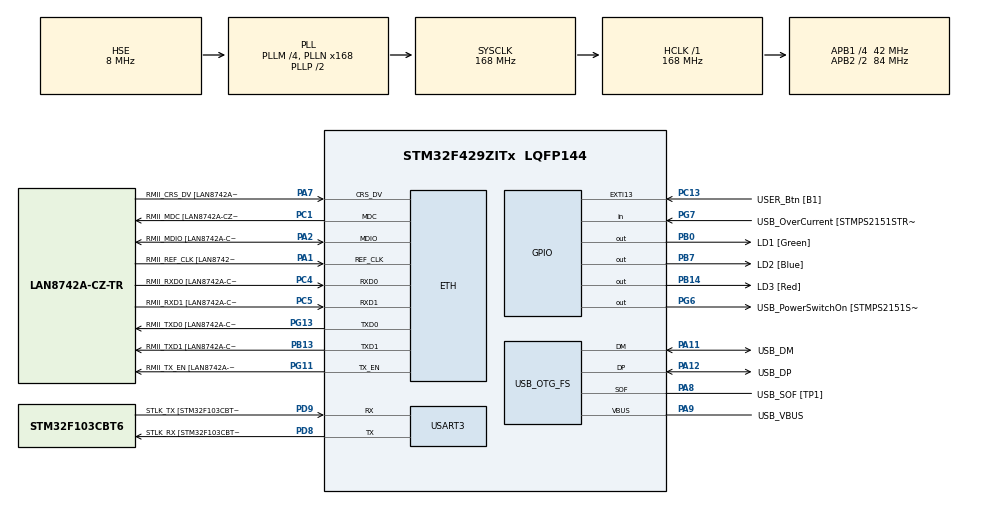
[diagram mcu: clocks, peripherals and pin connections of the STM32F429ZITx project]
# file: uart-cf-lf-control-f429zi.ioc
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ETH.MediaInterface=HAL_ETH_RMII_MODE
ETH.PHY_Name=LAN8742A_PHY_ADDRESS
ETH.PHY_Value=0
ETH.PhyAddress=0
FREERTOS.Tasks01=defaultTask,1,128,StartDefaultTask,Default,NULL,Dynamic,NULL,NULL
Mcu.Family=STM32F4
Mcu.Name=STM32F429ZITx
Mcu.Package=LQFP144
NVIC.PriorityGroup=NVIC_PRIORITYGROUP_4
NVIC.USART3_IRQn=true\:5\:0\:false\:false\:true\:true\:true\:true\:true
PA1.GPIO_Label=RMII_REF_CLK [LAN8742A-CZ-TR_REFCLK0]
PA1.Mode=RMII
PA1.Signal=ETH_REF_CLK
PA10.GPIO_Label=USB_ID
PA10.Signal=USB_OTG_FS_ID
PA11.GPIO_Label=USB_DM
PA11.Mode=Device_Only
PA11.Signal=USB_OTG_FS_DM
PA12.GPIO_Label=USB_DP
PA12.Mode=Device_Only
PA12.Signal=USB_OTG_FS_DP
PA13.GPIO_Label=TMS
PA13.Mode=Serial_Wire
PA13.Signal=SYS_JTMS-SWDIO
PA14.GPIO_Label=TCK
PA14.Mode=Serial_Wire
PA14.Signal=SYS_JTCK-SWCLK
PA2.GPIO_Label=RMII_MDIO [LAN8742A-CZ-TR_MDIO]
PA2.Mode=RMII
PA2.Signal=ETH_MDIO
PA7.GPIO_Label=RMII_CRS_DV [LAN8742A-CZ-TR_CRS_DV]
PA7.Mode=RMII
PA7.Signal=ETH_CRS_DV
PA8.GPIO_Label=USB_SOF [TP1]
PA8.Mode=Activate_SOF_FS
PA8.Signal=USB_OTG_FS_SOF
PA9.GPIO_Label=USB_VBUS
PA9.Mode=Activate_VBUS
PA9.Signal=USB_OTG_FS_VBUS
PB0.GPIO_Label=LD1 [Green]
PB0.Signal=GPIO_Output
PB13.GPIO_Label=RMII_TXD1 [LAN8742A-CZ-TR_TXD1]
PB13.Mode=RMII
PB13.Signal=ETH_TXD1
PB14.GPIO_Label=LD3 [Red]
PB14.Signal=GPIO_Output
PB7.GPIO_Label=LD2 [Blue]
PB7.Signal=GPIO_Output
PC1.GPIO_Label=RMII_MDC [LAN8742A-CZ-TR_MDC]
PC1.Mode=RMII
PC1.Signal=ETH_MDC
PC13.GPIO_Label=USER_Btn [B1]
PC13.Signal=GPXTI13
PC14/OSC32_IN.Mode=LSE-External-Oscillator
PC14/OSC32_IN.Signal=RCC_OSC32_IN
PC15/OSC32_OUT.Mode=LSE-External-Oscillator
PC15/OSC32_OUT.Signal=RCC_OSC32_OUT
PC4.GPIO_Label=RMII_RXD0 [LAN8742A-CZ-TR_RXD0]
PC4.Mode=RMII
PC4.Signal=ETH_RXD0
PC5.GPIO_Label=RMII_RXD1 [LAN8742A-CZ-TR_RXD1]
PC5.Mode=RMII
PC5.Signal=ETH_RXD1
PD8.GPIO_Label=STLK_RX [STM32F103CBT6_PA3]
PD8.Mode=Asynchronous
PD8.Signal=USART3_TX
PD9.GPIO_Label=STLK_TX [STM32F103CBT6_PA2]
PD9.Mode=Asynchronous
PD9.Signal=USART3_RX
PG11.GPIO_Label=RMII_TX_EN [LAN8742A-CZ-TR_TXEN]
PG11.Mode=RMII
PG11.Signal=ETH_TX_EN
PG13.GPIO_Label=RMII_TXD0 [LAN8742A-CZ-TR_TXD0]
PG13.Mode=RMII
PG13.Signal=ETH_TXD0
PG6.GPIO_Label=USB_PowerSwitchOn [STMPS2151STR_EN]
PG6.Signal=GPIO_Output
PG7.GPIO_Label=USB_OverCurrent [STMPS2151STR_FAULT]
PG7.Signal=GPIO_Input
PH0/OSC_IN.GPIO_Label=MCO [STM32F103CBT6_PA8]
PH0/OSC_IN.Mode=HSE-External-Clock-Source
PH0/OSC_IN.Signal=RCC_OSC_IN
PH1/OSC_OUT.Mode=HSE-External-Clock-Source
PH1/OSC_OUT.Signal=RCC_OSC_OUT
ProjectManager.HeapSize=0x200
ProjectManager.StackSize=0x400
ProjectManager.TargetToolchain=STM32CubeIDE
RCC.48MHZClocksFreq_Value=48000000
RCC.AHBFreq_Value=168000000
RCC.APB1CLKDivider=RCC_HCLK_DIV4
RCC.APB1Freq_Value=42000000
RCC.APB1TimFreq_Value=84000000
RCC.APB2CLKDivider=RCC_HCLK_DIV2
RCC.APB2Freq_Value=84000000
RCC.APB2TimCLKDivider=2
RCC.APB2TimFreq_Value=168000000
RCC.CortexFreq_Value=168000000
RCC.HCLKFreq_Value=168000000
RCC.HSE_VALUE=8000000
RCC.HSI_VALUE=16000000
RCC.PLLM=4
RCC.PLLMUL=RCC_PLL_MUL9
RCC.PLLN=168
RCC.PLLQ=7
RCC.PRESCALERUSB=RCC_USBCLKSOURCE_PLL_DIV1_5
RCC.SYSCLKFreq_VALUE=168000000
RCC.SYSCLKSource=RCC_SYSCLKSOURCE_PLLCLK
RCC.SYSCLKSourceVirtual=RCC_SYSCLKSOURCE_PLLCLK
RCC.USBFreq_Value=48000000
RCC.VCOOutputFreq_Value=336000000
USART3.VirtualMode=VM_ASYNC
USB_OTG_FS.VirtualMode=Device_Only
VP_FREERTOS_VS_CMSIS_V1.Mode=CMSIS_V1
board=NUCLEO-F429ZI

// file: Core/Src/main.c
/* USER CODE BEGIN Header */
/**
  ******************************************************************************
  * @file           : main.c
  * @brief          : Main program body
  ******************************************************************************
  * @attention
  *
  * Copyright (c) 2022 STMicroelectronics.
  * All rights reserved.
  *
  * This software is licensed under terms that can be found in the LICENSE file
  * in the root directory of this software component.
  * If no LICENSE file comes with this software, it is provided AS-IS.
  *
  ******************************************************************************
  */
/* USER CODE END Header */
#include "main.h"
#include "string.h"
#include "cmsis_os.h"

ETH_TxPacketConfig TxConfig;
ETH_DMADescTypeDef  DMARxDscrTab[ETH_RX_DESC_CNT]; /* Ethernet Rx DMA Descriptors */
ETH_DMADescTypeDef  DMATxDscrTab[ETH_TX_DESC_CNT]; /* Ethernet Tx DMA Descriptors */

 ETH_HandleTypeDef heth;

UART_HandleTypeDef huart3;

PCD_HandleTypeDef hpcd_USB_OTG_FS;

osThreadId defaultTaskHandle;
/* USER CODE BEGIN PV */
uint8_t testReceiveData[60];  //  creating a buffer of 60 bytes
/* USER CODE END PV */

void SystemClock_Config(void);
static void MX_GPIO_Init(void);
static void MX_ETH_Init(void);
static void MX_USART3_UART_Init(void);
static void MX_USB_OTG_FS_PCD_Init(void);
void StartDefaultTask(void const * argument);

/* USER CODE BEGIN PFP */
void removeChar(char * str, char charToRemove){
    int i, j;
    int len = strlen(str);
    for(i=0; i<len; i++)
    {
        if(str[i] == charToRemove)
        {
            for(j=i; j<len; j++)
            {
                str[j] = str[j+1];
            }
            len--;
            i--;
        }
    }
}

void MY_UART_Transmit(UART_HandleTypeDef *huart, const uint8_t *pData, uint16_t Size, uint32_t Timeout){

	removeChar(pData,'\n');
	removeChar(pData,'\r');
	strcat(pData, "\r\n");

	HAL_UART_Transmit(&huart3, pData, strlen(pData), Timeout);
}
/* USER CODE END PFP */

int main(void)
{

  /* MCU Configuration--------------------------------------------------------*/

  /* Reset of all peripherals, Initializes the Flash interface and the Systick. */
  HAL_Init();

  /* Configure the system clock */
  SystemClock_Config();

  /* Initialize all configured peripherals */
  MX_GPIO_Init();
  MX_ETH_Init();
  MX_USART3_UART_Init();
  MX_USB_OTG_FS_PCD_Init();
  /* USER CODE BEGIN 2 */
  //HAL_UART_Receive_IT(&huart3,testReceiveData,1);
  HAL_UART_Receive_IT(&huart3,testReceiveData,sizeof(testReceiveData));
  /* USER CODE END 2 */

  /* Create the thread(s) */
  /* definition and creation of defaultTask */
  osThreadDef(defaultTask, StartDefaultTask, osPriorityAboveNormal, 0, 128);
  defaultTaskHandle = osThreadCreate(osThread(defaultTask), NULL);

  /* Start scheduler */
  osKernelStart();

  /* We should never get here as control is now taken by the scheduler */
  /* Infinite loop */
  while (1)
  {
  }
}

void SystemClock_Config(void)
{
  RCC_OscInitTypeDef RCC_OscInitStruct = {0};
  RCC_ClkInitTypeDef RCC_ClkInitStruct = {0};

  /** Configure the main internal regulator output voltage
  */
  __HAL_RCC_PWR_CLK_ENABLE();
  __HAL_PWR_VOLTAGESCALING_CONFIG(PWR_REGULATOR_VOLTAGE_SCALE1);

  /** Initializes the RCC Oscillators according to the specified parameters
  * in the RCC_OscInitTypeDef structure.
  */
  RCC_OscInitStruct.OscillatorType = RCC_OSCILLATORTYPE_HSE;
  RCC_OscInitStruct.HSEState = RCC_HSE_BYPASS;
  RCC_OscInitStruct.PLL.PLLState = RCC_PLL_ON;
  RCC_OscInitStruct.PLL.PLLSource = RCC_PLLSOURCE_HSE;
  RCC_OscInitStruct.PLL.PLLM = 4;
  RCC_OscInitStruct.PLL.PLLN = 168;
  RCC_OscInitStruct.PLL.PLLP = RCC_PLLP_DIV2;
  RCC_OscInitStruct.PLL.PLLQ = 7;
  if (HAL_RCC_OscConfig(&RCC_OscInitStruct) != HAL_OK)
  {
    Error_Handler();
  }

  /** Initializes the CPU, AHB and APB buses clocks
  */
  RCC_ClkInitStruct.ClockType = RCC_CLOCKTYPE_HCLK|RCC_CLOCKTYPE_SYSCLK
                              |RCC_CLOCKTYPE_PCLK1|RCC_CLOCKTYPE_PCLK2;
  RCC_ClkInitStruct.SYSCLKSource = RCC_SYSCLKSOURCE_PLLCLK;
  RCC_ClkInitStruct.AHBCLKDivider = RCC_SYSCLK_DIV1;
  RCC_ClkInitStruct.APB1CLKDivider = RCC_HCLK_DIV4;
  RCC_ClkInitStruct.APB2CLKDivider = RCC_HCLK_DIV2;

  if (HAL_RCC_ClockConfig(&RCC_ClkInitStruct, FLASH_LATENCY_5) != HAL_OK)
  {
    Error_Handler();
  }
}

static void MX_ETH_Init(void)
{

   static uint8_t MACAddr[6];

  heth.Instance = ETH;
  MACAddr[0] = 0x00;
  MACAddr[1] = 0x80;
  MACAddr[2] = 0xE1;
  MACAddr[3] = 0x00;
  MACAddr[4] = 0x00;
  MACAddr[5] = 0x00;
  heth.Init.MACAddr = &MACAddr[0];
  heth.Init.MediaInterface = HAL_ETH_RMII_MODE;
  heth.Init.TxDesc = DMATxDscrTab;
  heth.Init.RxDesc = DMARxDscrTab;
  heth.Init.RxBuffLen = 1524;

  if (HAL_ETH_Init(&heth) != HAL_OK)
  {
    Error_Handler();
  }

  memset(&TxConfig, 0 , sizeof(ETH_TxPacketConfig));
  TxConfig.Attributes = ETH_TX_PACKETS_FEATURES_CSUM | ETH_TX_PACKETS_FEATURES_CRCPAD;
  TxConfig.ChecksumCtrl = ETH_CHECKSUM_IPHDR_PAYLOAD_INSERT_PHDR_CALC;
  TxConfig.CRCPadCtrl = ETH_CRC_PAD_INSERT;

}

static void MX_USART3_UART_Init(void)
{

  huart3.Instance = USART3;
  huart3.Init.BaudRate = 115200;
  huart3.Init.WordLength = UART_WORDLENGTH_8B;
  huart3.Init.StopBits = UART_STOPBITS_1;
  huart3.Init.Parity = UART_PARITY_NONE;
  huart3.Init.Mode = UART_MODE_TX_RX;
  huart3.Init.HwFlowCtl = UART_HWCONTROL_NONE;
  huart3.Init.OverSampling = UART_OVERSAMPLING_16;
  if (HAL_UART_Init(&huart3) != HAL_OK)
  {
    Error_Handler();
  }

}

static void MX_USB_OTG_FS_PCD_Init(void)
{

  hpcd_USB_OTG_FS.Instance = USB_OTG_FS;
  hpcd_USB_OTG_FS.Init.dev_endpoints = 4;
  hpcd_USB_OTG_FS.Init.speed = PCD_SPEED_FULL;
  hpcd_USB_OTG_FS.Init.dma_enable = DISABLE;
  hpcd_USB_OTG_FS.Init.phy_itface = PCD_PHY_EMBEDDED;
  hpcd_USB_OTG_FS.Init.Sof_enable = ENABLE;
  hpcd_USB_OTG_FS.Init.low_power_enable = DISABLE;
  hpcd_USB_OTG_FS.Init.lpm_enable = DISABLE;
  hpcd_USB_OTG_FS.Init.vbus_sensing_enable = ENABLE;
  hpcd_USB_OTG_FS.Init.use_dedicated_ep1 = DISABLE;
  if (HAL_PCD_Init(&hpcd_USB_OTG_FS) != HAL_OK)
  {
    Error_Handler();
  }

}

static void MX_GPIO_Init(void)
{
  GPIO_InitTypeDef GPIO_InitStruct = {0};

  /* GPIO Ports Clock Enable */
  __HAL_RCC_GPIOC_CLK_ENABLE();
  __HAL_RCC_GPIOH_CLK_ENABLE();
  __HAL_RCC_GPIOA_CLK_ENABLE();
  __HAL_RCC_GPIOB_CLK_ENABLE();
  __HAL_RCC_GPIOD_CLK_ENABLE();
  __HAL_RCC_GPIOG_CLK_ENABLE();

  /*Configure GPIO pin Output Level */
  HAL_GPIO_WritePin(GPIOB, LD1_Pin|LD3_Pin|LD2_Pin, GPIO_PIN_RESET);

  /*Configure GPIO pin Output Level */
  HAL_GPIO_WritePin(USB_PowerSwitchOn_GPIO_Port, USB_PowerSwitchOn_Pin, GPIO_PIN_RESET);

  /*Configure GPIO pin : USER_Btn_Pin */
  GPIO_InitStruct.Pin = USER_Btn_Pin;
  GPIO_InitStruct.Mode = GPIO_MODE_IT_RISING;
  GPIO_InitStruct.Pull = GPIO_NOPULL;
  HAL_GPIO_Init(USER_Btn_GPIO_Port, &GPIO_InitStruct);

  /*Configure GPIO pins : LD1_Pin LD3_Pin LD2_Pin */
  GPIO_InitStruct.Pin = LD1_Pin|LD3_Pin|LD2_Pin;
  GPIO_InitStruct.Mode = GPIO_MODE_OUTPUT_PP;
  GPIO_InitStruct.Pull = GPIO_NOPULL;
  GPIO_InitStruct.Speed = GPIO_SPEED_FREQ_LOW;
  HAL_GPIO_Init(GPIOB, &GPIO_InitStruct);

  /*Configure GPIO pin : USB_PowerSwitchOn_Pin */
  GPIO_InitStruct.Pin = USB_PowerSwitchOn_Pin;
  GPIO_InitStruct.Mode = GPIO_MODE_OUTPUT_PP;
  GPIO_InitStruct.Pull = GPIO_NOPULL;
  GPIO_InitStruct.Speed = GPIO_SPEED_FREQ_LOW;
  HAL_GPIO_Init(USB_PowerSwitchOn_GPIO_Port, &GPIO_InitStruct);

  /*Configure GPIO pin : USB_OverCurrent_Pin */
  GPIO_InitStruct.Pin = USB_OverCurrent_Pin;
  GPIO_InitStruct.Mode = GPIO_MODE_INPUT;
  GPIO_InitStruct.Pull = GPIO_NOPULL;
  HAL_GPIO_Init(USB_OverCurrent_GPIO_Port, &GPIO_InitStruct);

}

/* USER CODE BEGIN 4 */
void HAL_UART_RxCpltCallback(UART_HandleTypeDef *huart)
{
	MY_UART_Transmit(&huart3, testReceiveData, strlen(testReceiveData), 100);
	memset(testReceiveData,0,sizeof(testReceiveData));
	HAL_UART_Receive_IT(&huart3,testReceiveData,sizeof(testReceiveData));

}
/* USER CODE END 4 */

void StartDefaultTask(void const * argument)
{
  for(;;)
  {
    osDelay(1);
  }
}

void Error_Handler(void)
{
  __disable_irq();
  while (1)
  {
  }
}
